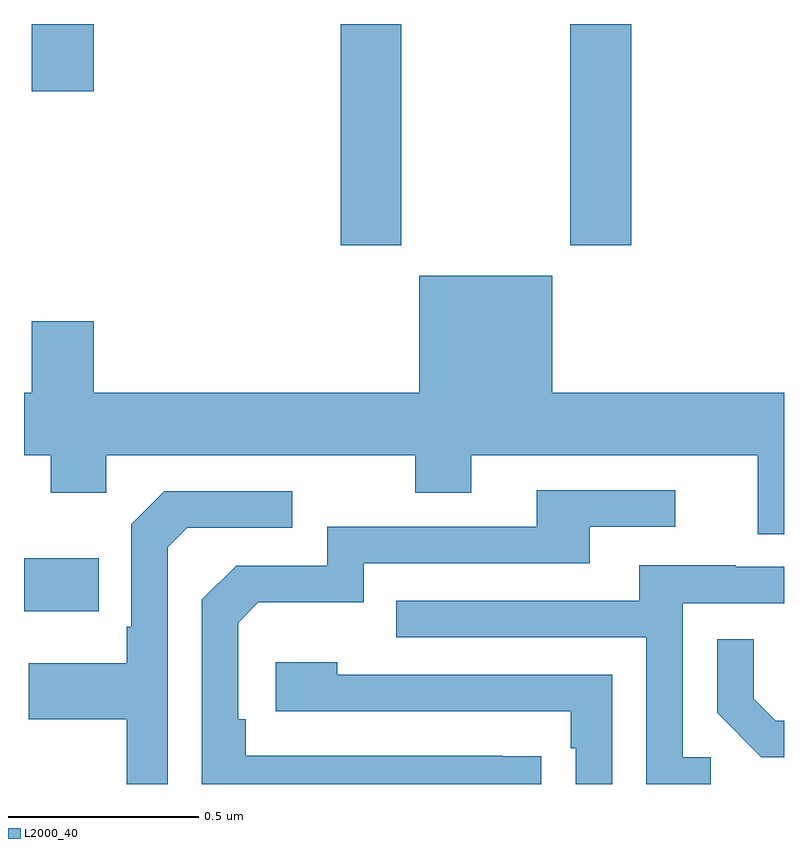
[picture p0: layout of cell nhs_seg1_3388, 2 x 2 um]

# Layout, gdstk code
import gdstk
lib = gdstk.Library(unit=1e-6, precision=1e-09)
def R(c, l, rs):  # rectangles x0, y0, x1, y1
    for r in rs: c.add(gdstk.rectangle(r[:2], r[2:], *l))
def P(c, l, *ps):  # polygons
    for p in ps: c.add(gdstk.Polygon(p, *l))
L2000_40 = (2000, 40)

nhs_seg1_3388 = lib.new_cell('nhs_seg1_3388')
R(nhs_seg1_3388, L2000_40, [(153,552.653,153.197,552.793), (153.833,553.617,153.993,554.199), (154.438,553.617,154.598,554.199), (153.02,554.022,153.184,554.199)])
P(nhs_seg1_3388, L2000_40, [(154.04,553.537),(154.04,553.228),(153.184,553.228),(153.184,553.417),(153.02,553.417),(153.02,553.228),(153,553.228),(153,553.064),(153.07,553.064),(153.07,552.965),(153.216,552.965),(153.216,553.064),(154.03,553.064),(154.03,552.965),(154.177,552.965),(154.177,553.064),(154.931,553.064),(154.931,552.856),(155,552.856),(155,553.228),(154.39,553.228),(154.39,553.537)],
  [(154.361,552.272),(154.259,552.272),(154.259,552.273),(153.584,552.273),(153.584,552.37),(153.564,552.37),(153.564,552.624),(153.617,552.677),(153.894,552.677),(153.894,552.78),(154.489,552.78),(154.489,552.876),(154.714,552.876),(154.714,552.972),(154.349,552.972),(154.349,552.876),(153.798,552.876),(153.798,552.774),(153.558,552.774),(153.468,552.684),(153.468,552.199),(154.361,552.199)],
  [(153.378,552.822),(153.429,552.873),(153.706,552.873),(153.706,552.969),(153.369,552.969),(153.282,552.882),(153.282,552.613),(153.27,552.613),(153.27,552.517),(153.013,552.517),(153.013,552.37),(153.27,552.37),(153.27,552.199),(153.378,552.199)],
  [(154.807,552.27),(154.734,552.27),(154.734,552.675),(155,552.675),(155,552.771),(154.873,552.771),(154.873,552.775),(154.619,552.775),(154.619,552.681),(153.979,552.681),(153.979,552.585),(154.638,552.585),(154.638,552.199),(154.807,552.199)],
  [(155,552.366),(154.978,552.366),(154.921,552.423),(154.921,552.58),(154.824,552.58),(154.824,552.386),(154.94,552.27),(155,552.27)],
  [(154.548,552.486),(153.824,552.486),(153.824,552.52),(153.663,552.52),(153.663,552.39),(154.439,552.39),(154.439,552.293),(154.452,552.293),(154.452,552.199),(154.548,552.199)])

lib.write_gds('nhs_seg1_3388.gds')
